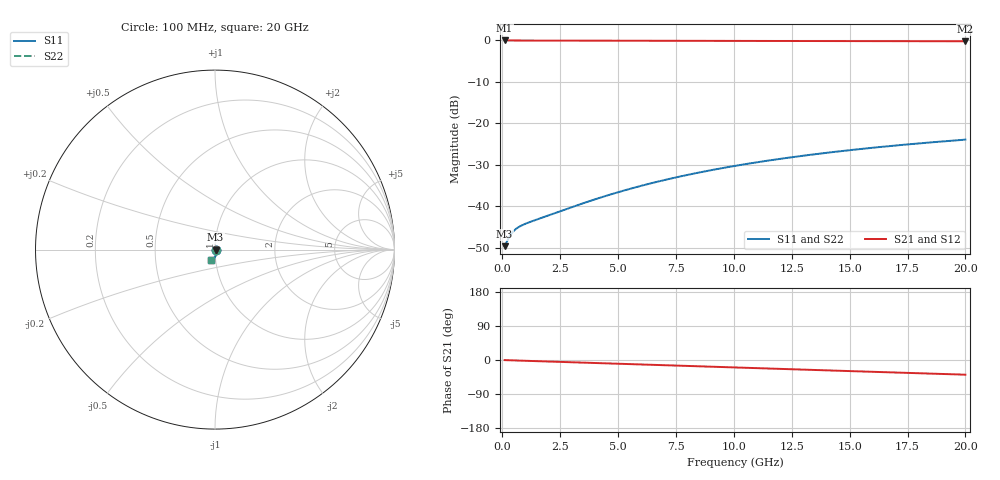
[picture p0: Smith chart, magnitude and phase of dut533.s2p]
! Touchstone file exported from HFSS 2026.1.0
!  File:  C:/ffzhzh/LocalFiles/Ansys_Project_Files/temp_train_TMRDL_533_1783007337_53980.aedt
!  Generated:  11:50:21 PM Jul  2, 2026
!  Design:  TMRDL
!  Project:  temp_train_TMRDL_533_1783007337_53980
! Variables:
!  h_bsmrdl = 2um
!  h_ox = 20um
!  h_rdl = 5um
!  h_sub = 80um
!  h_tmrdl = 3.29um
!  h_tsv = 80um
!  h_via = 3um
!  l_bsmrdl = 300um
!  l_sub = 1085.63um
!  l_tmrdl = 685.63um
!  m_sub = 200um
!  pitch = 28.17um
!  r_tsv = 6um
!  s_tmrdl = 10um
!  w_bsmrdl = 18um
!  w_sub = 500um
!  w_tmrdl = 25.06um
!  x_tsv_center1 = 698.16um
!  x_tsv_center2 = 1016.16um
!  x_tsv_center3 = 1726.85um
!  x_tsv_center4 = 2044.85um
!  x_tsv_center5 = 2755.54um
!  x_tsv_center6 = 3073.54um
# GHz S MA R 50.000000
! Terminal data exported
! Port[1] = TM_RDL1_1_T1
! Port[2] = TM_RDL1_1_T2
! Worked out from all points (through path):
!   200 points, 100 MHz to 20 GHz, reference 50 ohm
!   highest |S21| = -0.03 dB at 100 MHz (marker M1); lowest = -0.2 dB at 20 GHz (marker M2)
!   group delay of S21, straight-line fit = 5.36 ps
!   lowest |S11| = -49.6 dB at 100 MHz (marker M3), VSWR 1.01, Z = 50.3 + j0.051 ohm
!   |S11| at or under -10 dB: start of sweep to end of sweep
!   |S22| runs from -49.6 to -23.9 dB; largest |S21 - S12| = 6.4e-15
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0.1  0.003327 8.8  0.9967 -0.2  0.9967 -0.2  0.003327 8.8
! Gamma 0 0 0 0
! Port Impedance 50 0 50 0
0.3  0.004298 12.5  0.9958 -0.7  0.9958 -0.7  0.004297 12.5
0.4  0.004742 10.1  0.9953 -0.9  0.9953 -0.9  0.004742 10.1
0.5  0.005103 6.8  0.9949 -1.1  0.9949 -1.1  0.005103 6.8
0.6  0.005395 3.4  0.9946 -1.3  0.9946 -1.3  0.005395 3.4
0.8  0.005842 -3.2  0.9942 -1.7  0.9942 -1.7  0.005841 -3.2
1  0.006194 -9.1  0.9938 -2.1  0.9938 -2.1  0.006194 -9.1
1.3  0.006667 -16.7  0.9935 -2.7  0.9935 -2.7  0.006666 -16.7
3.5  0.01095 -48.6  0.9918 -7.0  0.9918 -7.0  0.01095 -48.6
4.3  0.01295 -54.9  0.991 -8.6  0.991 -8.6  0.01294 -54.9
5.1  0.01512 -60.0  0.9901 -10.2  0.9901 -10.2  0.01511 -60.1
5.9  0.01744 -64.3  0.9892 -11.7  0.9892 -11.7  0.01742 -64.4
6.8  0.02018 -68.5  0.9882 -13.5  0.9882 -13.5  0.02016 -68.6
7.6  0.02271 -71.9  0.9872 -15.1  0.9872 -15.1  0.02268 -72.0
8.4  0.02531 -75.0  0.9863 -16.6  0.9863 -16.6  0.02528 -75.1
10.1  0.03099 -81.0  0.9844 -19.9  0.9844 -19.9  0.03094 -81.2
11.7  0.03642 -86.2  0.9826 -22.9  0.9826 -22.9  0.03637 -86.4
13.4  0.04221 -91.3  0.9808 -26.2  0.9808 -26.2  0.04215 -91.5
15  0.04761 -95.8  0.9792 -29.2  0.9792 -29.2  0.04754 -96.0
16.7  0.05325 -100.4  0.9775 -32.5  0.9775 -32.5  0.05317 -100.6
18.3  0.05843 -104.5  0.9759 -35.5  0.9759 -35.5  0.05833 -104.8
20  0.06375 -108.7  0.9744 -38.7  0.9744 -38.7  0.06365 -109.0
